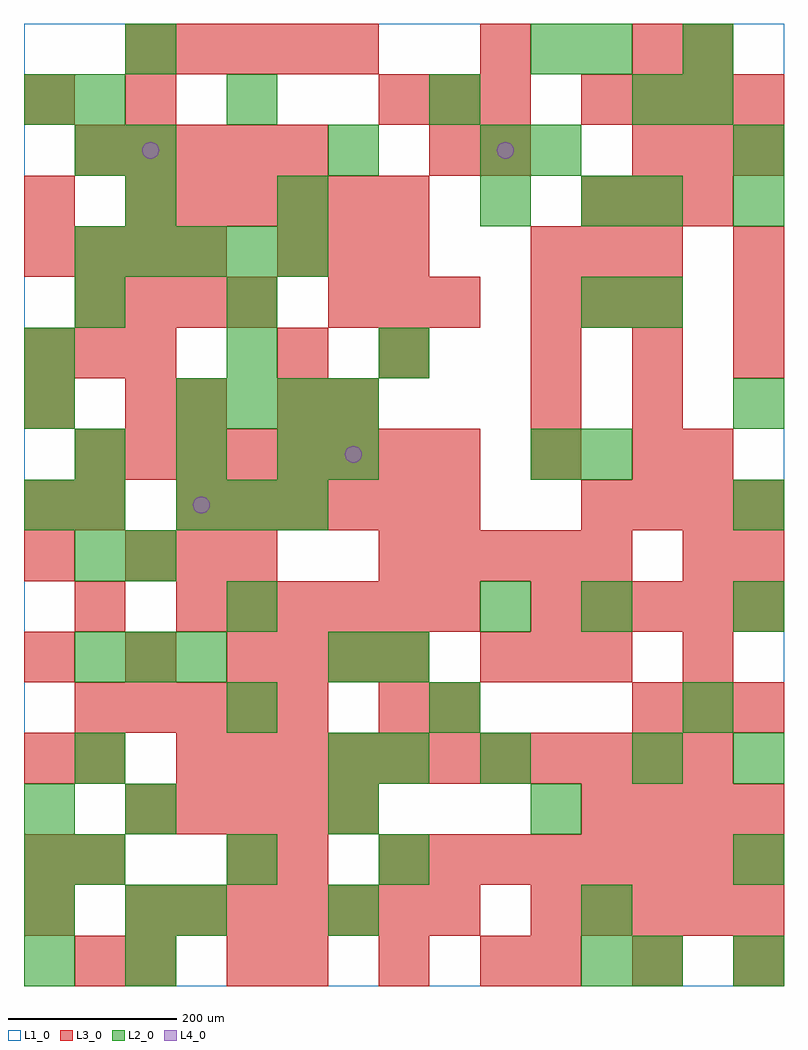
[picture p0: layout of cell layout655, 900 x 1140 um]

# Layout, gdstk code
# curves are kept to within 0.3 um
import gdstk
lib = gdstk.Library(unit=1e-6, precision=1e-09)
def R(c, l, rs):  # rectangles x0, y0, x1, y1
    for r in rs: c.add(gdstk.rectangle(r[:2], r[2:], *l))
def A(c, l, x, y, w, h, nx, ny, dx, dy):  # array of equal rectangles
    R(c, l, [(x+i*dx, y+j*dy, x+i*dx+w, y+j*dy+h) for i in range(nx) for j in range(ny)])
def P(c, l, *ps):  # polygons
    for p in ps: c.add(gdstk.Polygon(p, *l))
L1_0 = (1, 0)
L2_0 = (2, 0)
L3_0 = (3, 0)
L4_0 = (4, 0)

layout655 = lib.new_cell('layout655')
R(layout655, L1_0, [(0,0,900,1140)])
A(layout655, L2_0, 0, 0, 60, 60, 1, 4, 0, 60)
A(layout655, L2_0, 840, 0, 60, 60, 1, 3, 0, 120)
A(layout655, L2_0, 120, 60, 60, 60, 1, 3, 0, 420)
A(layout655, L2_0, 60, 120, 60, 60, 3, 1, 180, 0)
A(layout655, L2_0, 120, 180, 60, 60, 3, 1, 240, 0)
A(layout655, L2_0, 60, 360, 60, 60, 3, 1, 60, 0)
A(layout655, L2_0, 660, 420, 60, 60, 1, 3, 0, 180)
A(layout655, L2_0, 840, 420, 60, 60, 1, 3, 0, 120)
A(layout655, L2_0, 180, 540, 60, 60, 3, 1, 60, 0)
A(layout655, L2_0, 60, 600, 60, 60, 3, 1, 120, 0)
A(layout655, L2_0, 180, 660, 60, 60, 4, 1, 60, 0)
A(layout655, L2_0, 60, 840, 60, 60, 5, 1, 60, 0)
A(layout655, L2_0, 240, 1020, 60, 60, 3, 1, 240, 0)
R(layout655, L2_0, [(120,0,180,60), (660,0,720,60), (720,0,780,60), (180,60,240,120), (360,60,420,120), (660,60,720,120), (60,240,120,300), (360,240,420,300), (420,240,480,300), (540,240,600,300), (720,240,780,300), (240,300,300,360), (480,300,540,360), (780,300,840,360), (360,360,420,420), (420,360,480,420), (240,420,300,480), (540,420,600,480), (60,480,120,540), (0,540,60,600), (60,540,120,600), (360,600,420,660), (600,600,660,660), (0,660,60,720), (0,720,60,780), (240,720,300,780), (420,720,480,780), (60,780,120,840), (240,780,300,840), (720,780,780,840), (300,900,360,960), (540,900,600,960), (660,900,720,960), (720,900,780,960), (840,900,900,960), (60,960,120,1020), (120,960,180,1020), (360,960,420,1020), (540,960,600,1020), (600,960,660,1020), (840,960,900,1020), (0,1020,60,1080), (60,1020,120,1080), (780,1020,840,1080), (120,1080,180,1140), (600,1080,660,1140), (660,1080,720,1140), (780,1080,840,1140)])
A(layout655, L3_0, 60, 0, 60, 60, 1, 3, 0, 120)
A(layout655, L3_0, 300, 0, 60, 60, 3, 1, 120, 0)
A(layout655, L3_0, 600, 0, 60, 60, 3, 2, 120, 720)
A(layout655, L3_0, 120, 60, 60, 60, 7, 1, 60, 0)
A(layout655, L3_0, 600, 60, 60, 60, 5, 2, 60, 360)
A(layout655, L3_0, 420, 120, 60, 60, 8, 1, 60, 0)
A(layout655, L3_0, 120, 180, 60, 60, 5, 2, 60, 900)
A(layout655, L3_0, 660, 180, 60, 60, 4, 2, 60, 360)
A(layout655, L3_0, 180, 240, 60, 60, 11, 1, 60, 0)
A(layout655, L3_0, 60, 300, 60, 60, 5, 2, 60, 660)
A(layout655, L3_0, 720, 300, 60, 60, 3, 2, 60, 660)
A(layout655, L3_0, 0, 360, 60, 60, 3, 1, 120, 0)
A(layout655, L3_0, 300, 360, 60, 60, 3, 2, 60, 480)
A(layout655, L3_0, 540, 360, 60, 60, 3, 1, 60, 0)
A(layout655, L3_0, 780, 360, 60, 60, 1, 3, 0, 120)
A(layout655, L3_0, 180, 420, 60, 60, 6, 2, 60, 120)
A(layout655, L3_0, 120, 480, 60, 60, 3, 1, 60, 0)
A(layout655, L3_0, 420, 480, 60, 60, 5, 1, 60, 0)
A(layout655, L3_0, 60, 600, 60, 60, 8, 1, 60, 0)
A(layout655, L3_0, 0, 720, 60, 60, 3, 1, 60, 0)
A(layout655, L3_0, 60, 780, 60, 60, 4, 1, 60, 0)
A(layout655, L3_0, 360, 780, 60, 60, 3, 1, 60, 0)
A(layout655, L3_0, 600, 780, 60, 60, 3, 2, 60, 60)
A(layout655, L3_0, 0, 840, 60, 60, 4, 1, 60, 0)
A(layout655, L3_0, 120, 900, 60, 60, 6, 1, 60, 0)
A(layout655, L3_0, 660, 900, 60, 60, 3, 1, 60, 0)
A(layout655, L3_0, 420, 1020, 60, 60, 3, 1, 60, 0)
A(layout655, L3_0, 660, 1020, 60, 60, 4, 1, 60, 0)
R(layout655, L3_0, [(120,0,180,60), (240,0,300,60), (0,60,60,120), (0,120,60,180), (240,120,300,180), (300,120,360,180), (0,240,60,300), (420,300,480,360), (480,300,540,360), (60,420,120,480), (0,480,60,540), (840,480,900,540), (0,540,60,600), (60,540,120,600), (600,600,660,660), (720,600,780,660), (0,660,60,720), (120,660,180,720), (180,660,240,720), (300,660,360,720), (360,660,420,720), (600,660,660,720), (720,660,780,720), (300,720,360,780), (420,720,480,780), (840,780,900,840), (840,840,900,900), (0,900,60,960), (480,960,540,1020), (540,960,600,1020), (0,1020,60,1080), (120,1020,180,1080), (540,1080,600,1140), (720,1080,780,1140), (780,1080,840,1140)])
P(layout655, L4_0, [(160,990),(159.239,993.827),(157.071,997.071),(153.827,999.239),(150,1000),(146.173,999.239),(142.929,997.071),(140.761,993.827),(140,990),(140.761,986.173),(142.929,982.929),(146.173,980.761),(150,980),(153.827,980.761),(157.071,982.929),(159.239,986.173)],
  [(220,570),(219.239,573.827),(217.071,577.071),(213.827,579.239),(210,580),(206.173,579.239),(202.929,577.071),(200.761,573.827),(200,570),(200.761,566.173),(202.929,562.929),(206.173,560.761),(210,560),(213.827,560.761),(217.071,562.929),(219.239,566.173)],
  [(400,630),(399.239,633.827),(397.071,637.071),(393.827,639.239),(390,640),(386.173,639.239),(382.929,637.071),(380.761,633.827),(380,630),(380.761,626.173),(382.929,622.929),(386.173,620.761),(390,620),(393.827,620.761),(397.071,622.929),(399.239,626.173)],
  [(580,990),(579.239,993.827),(577.071,997.071),(573.827,999.239),(570,1000),(566.173,999.239),(562.929,997.071),(560.761,993.827),(560,990),(560.761,986.173),(562.929,982.929),(566.173,980.761),(570,980),(573.827,980.761),(577.071,982.929),(579.239,986.173)])

lib.write_gds('layout655.gds')
